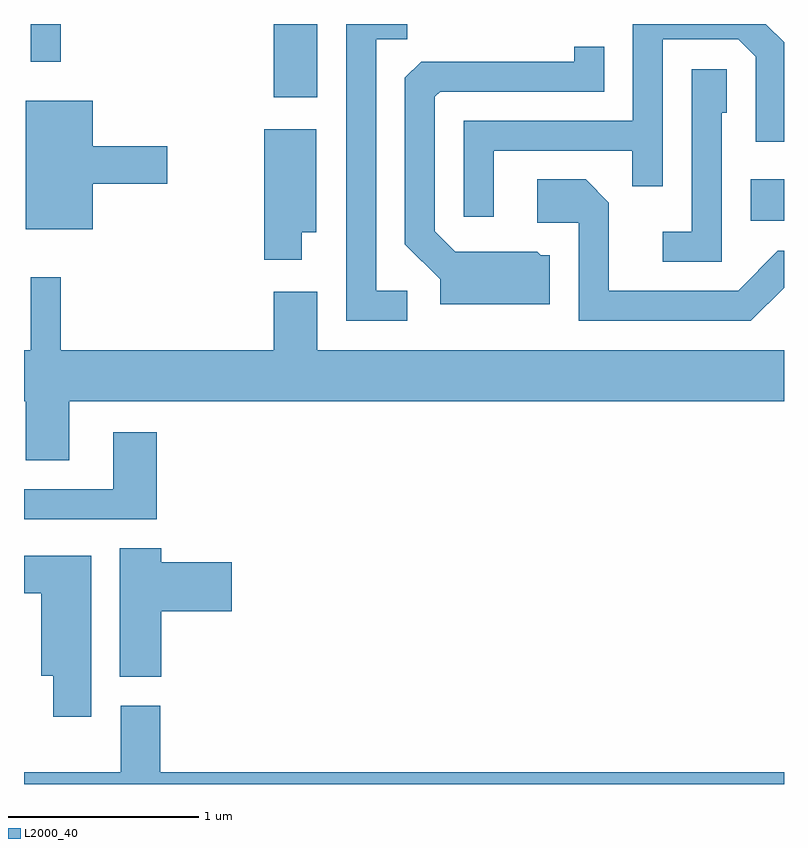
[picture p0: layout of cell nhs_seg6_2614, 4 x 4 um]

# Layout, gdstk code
import gdstk
lib = gdstk.Library(unit=1e-6, precision=1e-09)
def R(c, l, rs):  # rectangles x0, y0, x1, y1
    for r in rs: c.add(gdstk.rectangle(r[:2], r[2:], *l))
def P(c, l, *ps):  # polygons
    for p in ps: c.add(gdstk.Polygon(p, *l))
L2000_40 = (2000, 40)

nhs_seg6_2614 = lib.new_cell('nhs_seg6_2614')
R(nhs_seg6_2614, L2000_40, [(267.436,1633.126,267.611,1633.344), (264.926,1633.776,265.154,1634.162), (263.646,1633.963,263.804,1634.162)])
P(nhs_seg6_2614, L2000_40, [(266.084,1633.496),(266.811,1633.496),(266.811,1633.308),(266.974,1633.308),(266.974,1634.081),(267.369,1634.081),(267.461,1633.989),(267.461,1633.541),(267.611,1633.541),(267.611,1634.065),(267.514,1634.162),(266.816,1634.162),(266.816,1633.654),(265.926,1633.654),(265.926,1633.148),(266.084,1633.148)],
  [(265.628,1632.759),(265.464,1632.759),(265.464,1634.081),(265.628,1634.081),(265.628,1634.162),(265.306,1634.162),(265.306,1632.601),(265.628,1632.601)],
  [(266.379,1632.944),(266.332,1632.944),(266.312,1632.964),(265.882,1632.964),(265.774,1633.072),(265.774,1633.779),(265.802,1633.806),(266.664,1633.806),(266.664,1634.043),(266.506,1634.043),(266.506,1633.964),(265.702,1633.964),(265.616,1633.879),(265.616,1633.004),(265.801,1632.819),(265.801,1632.686),(266.379,1632.686)],
  [(267.284,1633.696),(267.309,1633.696),(267.309,1633.924),(267.126,1633.924),(267.126,1633.069),(266.973,1633.069),(266.973,1632.911),(267.284,1632.911)],
  [(263.974,1633.321),(264.364,1633.321),(264.364,1633.519),(263.974,1633.519),(263.974,1633.759),(263.621,1633.759),(263.621,1633.081),(263.974,1633.081)],
  [(265.074,1633.066),(265.149,1633.066),(265.149,1633.609),(264.876,1633.609),(264.876,1632.921),(265.074,1632.921)],
  [(267.611,1632.775),(267.611,1632.969),(267.579,1632.969),(267.369,1632.759),(266.689,1632.759),(266.689,1633.222),(266.567,1633.344),(266.311,1633.344),(266.311,1633.116),(266.531,1633.116),(266.531,1632.601),(267.437,1632.601)],
  [(263.849,1632.176),(267.611,1632.176),(267.611,1632.444),(265.154,1632.444),(265.154,1632.754),(264.926,1632.754),(264.926,1632.444),(263.804,1632.444),(263.804,1632.828),(263.646,1632.828),(263.646,1632.444),(263.611,1632.444),(263.611,1632.176),(263.621,1632.176),(263.621,1631.866),(263.849,1631.866)],
  [(264.309,1632.014),(264.081,1632.014),(264.081,1631.714),(263.611,1631.714),(263.611,1631.556),(264.309,1631.556)],
  [(264.334,1631.071),(264.704,1631.071),(264.704,1631.329),(264.334,1631.329),(264.334,1631.404),(264.116,1631.404),(264.116,1630.726),(264.334,1630.726)],
  [(263.964,1631.364),(263.611,1631.364),(263.611,1631.166),(263.701,1631.166),(263.701,1630.731),(263.766,1630.731),(263.766,1630.516),(263.964,1630.516)],
  [(267.611,1630.224),(264.329,1630.224),(264.329,1630.574),(264.121,1630.574),(264.121,1630.224),(263.611,1630.224),(263.611,1630.162),(267.611,1630.162)])

lib.write_gds('nhs_seg6_2614.gds')
